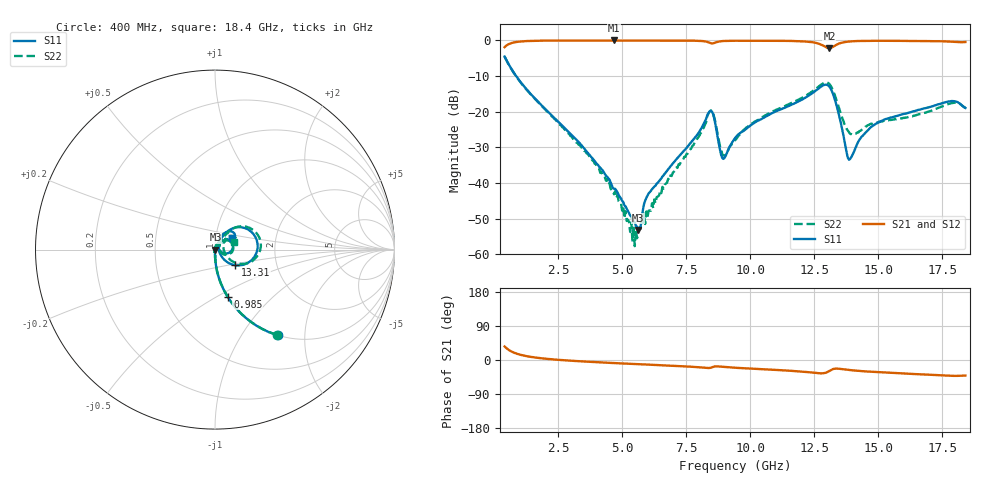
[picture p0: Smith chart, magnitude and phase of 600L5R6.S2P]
!  American Technical Ceramics  Date:  10/27/06
!  One Norden Lane
!  Huntington Station,  NY.  11746-2102
!  Tel:  (631) 622-4700  Fax:  (631) 622-4748
!  Part Number  600L5R6		Mounting Orientation:  Horizontal
!  Description: Ultra Low ESR Microwave capacitors
!  Application: Coupling, Bypass, Tuning, DC Block
!  Filters, Matching
# GHZ S DB R 50
! Freq  |S11|  S11 Ph  |S21|  S21 Ph  |S12|  S12 Ph  |S22|  S22 Ph
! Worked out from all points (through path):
!   401 points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, 400 MHz to 18.4 GHz, reference 50 ohm
!   highest |S21| = -0.03 dB at 4.675 GHz (marker M1); lowest = -2.2 dB at 13.09 GHz (marker M2)
!   group delay of S21, straight-line fit = 7.99 ps
!   lowest |S11| = -53.2 dB at 5.62 GHz (marker M3), VSWR 1.00, Z = 50.2 + j0.0239 ohm
!   |S11| at or under -10 dB: 849 MHz to end of sweep
!   |S22| runs from -57.7 to -4.6 dB; largest |S21 - S12| = 0.0022
!   S11 on the Smith chart (normalised r, x): 400 MHz: 1.00, -1.47; 985 MHz: 0.99, -0.56; 13.31 GHz: 1.23, -0.22; 18.4 GHz: 1.19, +0.15
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0.4  -4.54 -53.7  -1.91 35.7  -1.91 35.7  -4.61 -54.0
0.985  -11.34 -75.1  -0.35 14.4  -0.34 14.4  -11.42 -75.2
3.415  -29.49 -90.8  -0.04 -3.6  -0.03 -3.6  -30.14 -89.6
4.675  -41.58 -78.5  -0.03 -8.0  -0.03 -8.1  -43.16 -95.3
5.395  -50.27 -37.6  -0.04 -10.4  -0.04 -10.4  -56.44 -142.4
5.62  -53.17 6.2  -0.05 -11.1  -0.04 -11.1  -53.09 163.1
5.935  -44.19 46.9  -0.05 -11.9  -0.04 -12.0  -47.99 113.0
6.43  -39.50 51.4  -0.04 -13.5  -0.04 -13.5  -43.55 89.5
8.005  -25.65 53.6  -0.14 -19.2  -0.13 -19.2  -26.79 58.1
8.41  -19.91 26.8  -0.67 -21.0  -0.67 -21.0  -20.00 21.9
8.545  -20.68 -4.2  -0.85 -18.2  -0.85 -18.2  -20.38 -9.2
8.905  -33.01 6.9  -0.21 -18.1  -0.21 -18.1  -31.95 -5.9
9.4  -27.43 57.6  -0.11 -20.5  -0.11 -20.5  -27.96 46.6
10.075  -23.50 60.5  -0.09 -23.0  -0.09 -23.0  -23.22 54.2
12.415  -14.84 43.6  -0.52 -33.2  -0.52 -33.2  -14.37 42.6
13.09  -13.03 -10.6  -2.18 -28.6  -2.18 -28.6  -12.26 -6.4
13.315  -16.95 -37.8  -1.43 -22.9  -1.43 -22.9  -15.69 -29.1
13.855  -33.47 2.9  -0.33 -26.2  -0.33 -26.3  -25.81 -7.0
14.665  -24.64 67.6  -0.15 -30.7  -0.15 -30.8  -23.55 38.9
15.43  -21.75 65.0  -0.13 -33.8  -0.12 -33.8  -22.27 42.7
17.77  -17.12 45.0  -0.34 -41.4  -0.34 -41.5  -17.77 33.9
18.4  -18.96 34.5  -0.46 -41.1  -0.45 -41.1  -18.88 20.8
